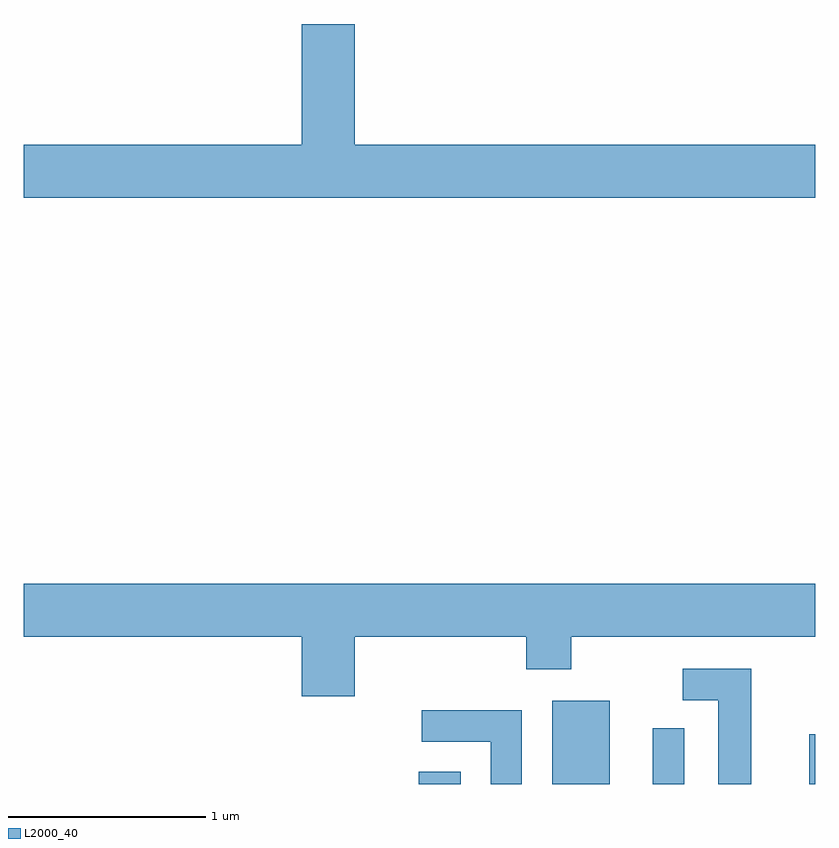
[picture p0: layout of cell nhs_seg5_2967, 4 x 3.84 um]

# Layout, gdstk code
import gdstk
lib = gdstk.Library(unit=1e-6, precision=1e-09)
def R(c, l, rs):  # rectangles x0, y0, x1, y1
    for r in rs: c.add(gdstk.rectangle(r[:2], r[2:], *l))
def P(c, l, *ps):  # polygons
    for p in ps: c.add(gdstk.Polygon(p, *l))
L2000_40 = (2000, 40)

nhs_seg5_2967 = lib.new_cell('nhs_seg5_2967')
R(nhs_seg5_2967, L2000_40, [(275.606,1436.072,275.819,1436.134), (276.281,1436.072,276.574,1436.494), (276.791,1436.072,276.949,1436.353), (277.581,1436.072,277.611,1436.324)])
P(nhs_seg5_2967, L2000_40, [(277.611,1439.304),(275.284,1439.304),(275.284,1439.914),(275.016,1439.914),(275.016,1439.304),(273.611,1439.304),(273.611,1439.036),(277.611,1439.036)],
  [(275.284,1436.816),(276.151,1436.816),(276.151,1436.651),(276.379,1436.651),(276.379,1436.816),(277.611,1436.816),(277.611,1437.084),(273.611,1437.084),(273.611,1436.816),(275.016,1436.816),(275.016,1436.516),(275.284,1436.516)],
  [(277.289,1436.654),(276.943,1436.654),(276.943,1436.496),(277.121,1436.496),(277.121,1436.072),(277.289,1436.072)],
  [(276.129,1436.444),(275.623,1436.444),(275.623,1436.286),(275.971,1436.286),(275.971,1436.072),(276.129,1436.072)])

lib.write_gds('nhs_seg5_2967.gds')
